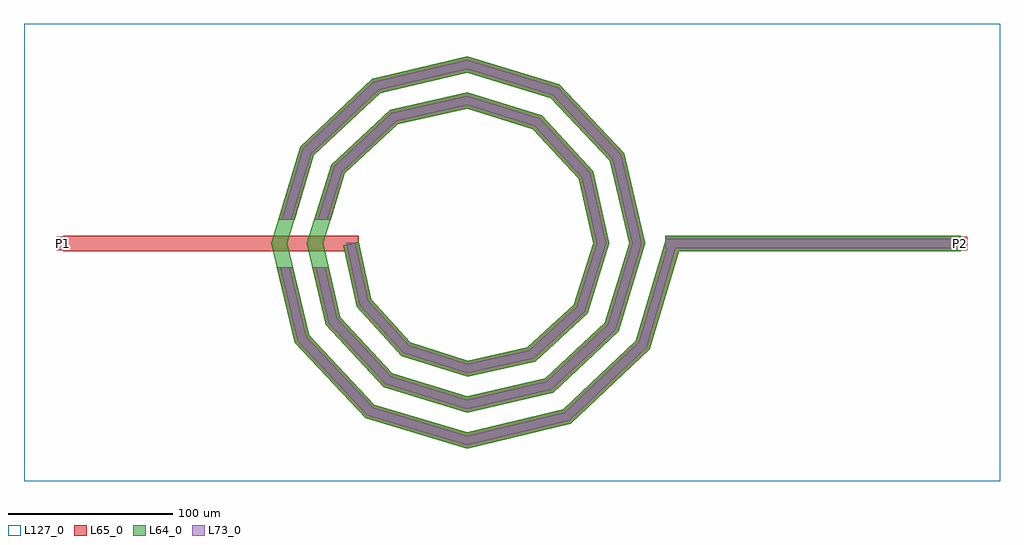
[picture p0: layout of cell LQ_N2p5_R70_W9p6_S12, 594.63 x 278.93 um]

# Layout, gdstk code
import gdstk
lib = gdstk.Library(unit=1e-6, precision=1e-09)
def R(c, l, rs):  # rectangles x0, y0, x1, y1
    for r in rs: c.add(gdstk.rectangle(r[:2], r[2:], *l))
def P(c, l, *ps):  # polygons
    for p in ps: c.add(gdstk.Polygon(p, *l))
L64_0 = (64, 0)
L65_0 = (65, 0)
L73_0 = (73, 0)
L127_0 = (127, 0)

lq_n2p5_r70_w9p6_s12 = lib.new_cell('LQ_N2p5_R70_W9p6_S12')
R(lq_n2p5_r70_w9p6_s12, L64_0, [(120.623,-4.8,300.623,4.8)])
P(lq_n2p5_r70_w9p6_s12, L64_0, [(-58.479,-34.031),(-34.544,-60.285),(0.221,-71.3),(36.748,-63.216),(65.007,-37.288),(76.762,0.206),(67.953,39.466),(40.03,69.73),(0.194,82.223),(-42.186,72.689),(-74.454,42.771),(-87.685,0.182),(-77.425,-44.908),(-45.511,-79.178),(0.172,-93.147),(47.63,-82.16),(83.904,-48.25),(98.608,0.163),(86.894,50.353),(50.988,88.629),(0.155,104.07),(-53.077,91.628),(-93.356,53.726),(-109.532,0.147),(-96.362,-55.802),(-56.463,-98.082),(0.141,-114.994),(58.527,-101.095),(102.809,-59.199),(120.823,1.368),(130.024,-1.368),(111.277,-64.404),(63.255,-109.838),(0.141,-124.929),(-61.678,-106.544),(-105.111,-60.518),(-119.467,0.147),(-101.81,58.953),(-57.781,100.384),(0.155,114.005),(56.228,97.076),(95.657,55.043),(108.543,0.163),(92.341,-53.505),(52.304,-90.931),(0.172,-103.08),(-50.782,-87.606),(-86.206,-49.565),(-97.618,0.182),(-82.87,48.059),(-46.824,81.481),(0.194,92.156),(45.339,78.133),(76.756,44.082),(86.693,0.206),(73.396,-42.619),(41.339,-72.033),(0.221,-81.231),(-39.901,-68.658),(-67.31,-38.593),(-75.494,-1.022),(-66.113,1.022)])
R(lq_n2p5_r70_w9p6_s12, L65_0, [(-246.004,-4.8,-66.004,4.8), (120.623,-4.8,300.623,4.8), (-250.004,-4,-242.004,4), (296.623,-4,304.623,4)])
P(lq_n2p5_r70_w9p6_s12, L65_0, [(-96.362,-55.802),(-56.463,-98.082),(0.141,-114.994),(58.527,-101.095),(102.809,-59.199),(120.823,1.368),(130.024,-1.368),(111.277,-64.403),(63.255,-109.838),(0.141,-124.929),(-61.678,-106.544),(-105.111,-60.518),(-116.024,-14.4),(-106.159,-14.4)],
  [(-77.425,-44.908),(-45.511,-79.178),(0.172,-93.147),(47.63,-82.16),(83.904,-48.25),(98.608,0.163),(86.894,50.353),(50.989,88.63),(0.155,104.07),(-53.077,91.628),(-93.356,53.726),(-105.164,14.4),(-115.187,14.4),(-101.81,58.953),(-57.781,100.384),(0.155,114.005),(56.228,97.076),(95.657,55.043),(108.543,0.163),(92.341,-53.505),(52.304,-90.931),(0.172,-103.08),(-50.782,-87.606),(-86.206,-49.565),(-94.273,-14.4),(-84.423,-14.4)],
  [(-34.544,-60.285),(0.221,-71.3),(36.748,-63.217),(65.007,-37.288),(76.762,0.206),(67.953,39.466),(40.03,69.73),(0.194,82.223),(-42.186,72.689),(-74.454,42.771),(-83.193,14.4),(-93.238,14.4),(-82.87,48.06),(-46.824,81.481),(0.194,92.156),(45.339,78.133),(76.756,44.082),(86.693,0.206),(73.396,-42.619),(41.339,-72.033),(0.221,-81.231),(-39.901,-68.658),(-67.31,-38.593),(-75.494,-1.022),(-66.114,1.022),(-58.479,-34.031)])
R(lq_n2p5_r70_w9p6_s12, L73_0, [(120.623,-2.8,300.623,2.8)])
P(lq_n2p5_r70_w9p6_s12, L73_0, [(-98.184,-56.785),(-57.549,-99.845),(0.082,-117.064),(59.512,-102.916),(104.573,-60.284),(122.74,0.798),(128.107,0.798),(109.513,-63.319),(62.27,-108.016),(0.082,-122.859),(-60.591,-104.781),(-103.288,-59.536),(-113.969,-14.4),(-108.214,-14.4)],
  [(-79.254,-45.878),(-46.609,-80.934),(0.1,-95.216),(48.604,-83.987),(85.661,-49.345),(100.678,0.095),(88.72,51.33),(52.08,90.389),(0.09,106.14),(-54.057,93.452),(-95.117,54.815),(-107.252,14.4),(-113.099,14.4),(-100.048,57.864),(-56.801,98.56),(0.09,111.935),(55.137,95.316),(93.832,54.066),(106.473,0.095),(90.583,-52.41),(51.33,-89.104),(0.1,-101.011),(-49.684,-85.85),(-84.376,-48.594),(-92.221,-14.4),(-86.475,-14.4)],
  [(-35.66,-62.029),(0.129,-73.369),(37.704,-65.053),(66.755,-38.399),(78.831,0.12),(69.787,40.428),(41.136,71.481),(0.113,84.293),(-43.152,74.521),(-76.207,43.873),(-85.286,14.4),(-91.146,14.4),(-81.117,46.958),(-45.858,79.649),(0.113,90.086),(44.233,76.383),(74.922,43.12),(84.624,0.12),(71.648,-41.508),(40.382,-70.196),(0.129,-79.162),(-38.785,-66.913),(-65.47,-37.643),(-73.539,0.596),(-68.068,0.596),(-60.319,-34.981)])
R(lq_n2p5_r70_w9p6_s12, L127_0, [(-270.004,-144.929,324.623,134.005)])
lq_n2p5_r70_w9p6_s12.add(gdstk.Label('P2', (300.623,0), layer=65, texttype=0))
lq_n2p5_r70_w9p6_s12.add(gdstk.Label('P1', (-246.004,0), layer=65, texttype=0))
lq_n2p5_r70_w9p6_s12.add(gdstk.Label('P2', (304.623,0), layer=145, texttype=0))
lq_n2p5_r70_w9p6_s12.add(gdstk.Label('P1', (-250.004,0), layer=145, texttype=0))

lib.write_gds('LQ_N2p5_R70_W9p6_S12.gds')
